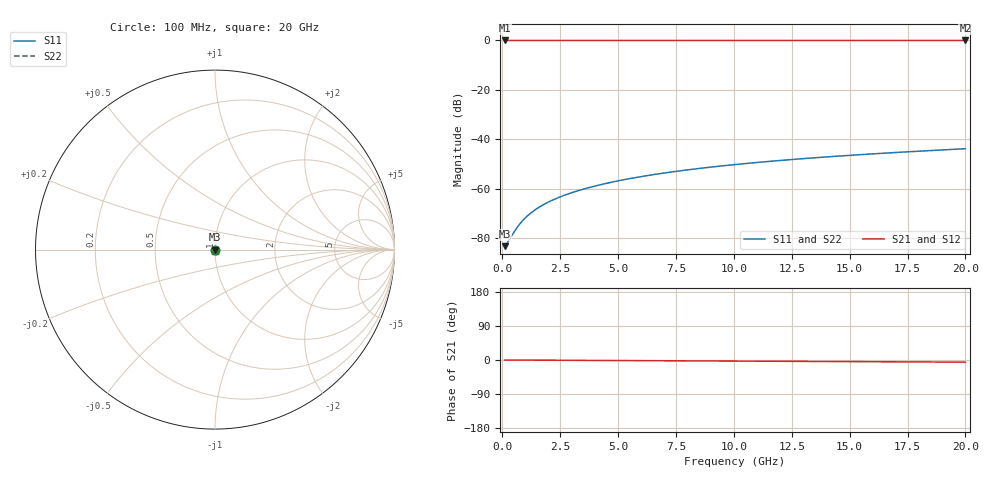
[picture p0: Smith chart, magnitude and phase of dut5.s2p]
! Touchstone file exported from HFSS 2026.1.0
!  File:  C:/ffzhzh/LocalFiles/Ansys_Project_Files/temp_train_TSV_5_1782957853_15332.aedt
!  Generated:  10:05:40 AM Jul  2, 2026
!  Design:  TSV
!  Project:  temp_train_TSV_5_1782957853_15332
! Variables:
!  h_bsmrdl = 2um
!  h_ox = 20um
!  h_rdl = 5um
!  h_sub = 53.06um
!  h_tmrdl = 5um
!  h_tsv = 53.06um
!  h_via = 3um
!  l_bsmrdl = 300um
!  l_sub = 425.36um
!  l_tmrdl = 200um
!  m_sub = 200um
!  pitch = 47.09um
!  r_tsv = 12.68um
!  s_tmrdl = 10um
!  w_bsmrdl = 18um
!  w_sub = 500um
!  w_tmrdl = 12um
!  x_tsv_center1 = 206um
!  x_tsv_center2 = 524um
!  x_tsv_center3 = 736um
!  x_tsv_center4 = 1054um
!  x_tsv_center5 = 1266um
!  x_tsv_center6 = 1584um
# GHz S MA R 50.000000
! Terminal data exported
! Port[1] = TSV1_1_T1
! Port[2] = TSV1_1_T2
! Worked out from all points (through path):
!   200 points, 100 MHz to 20 GHz, reference 50 ohm
!   highest |S21| = 0.00 dB at 100 MHz (marker M1); lowest = 0.0 dB at 20 GHz (marker M2)
!   lowest |S11| = -83.2 dB at 100 MHz (marker M3), VSWR 1.00, Z = 50 - j0.000245 ohm
!   |S11| at or under -10 dB: start of sweep to end of sweep
!   |S22| runs from -83.2 to -43.8 dB; largest |S21 - S12| = 1e-15
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0.1  6.879e-05 -2.0  0.9999 -0.0  0.9999 -0.0  6.879e-05 -2.0
! Gamma 0 0 0 0
! Port Impedance 50 0 50 0
0.3  9.221e-05 -9.8  0.9999 -0.1  0.9999 -0.1  9.221e-05 -9.8
0.4  0.0001103 -15.1  0.9999 -0.1  0.9999 -0.1  0.0001103 -15.1
0.6  0.0001545 -25.9  0.9999 -0.2  0.9999 -0.2  0.0001545 -25.9
0.7  0.0001791 -30.7  0.9998 -0.2  0.9998 -0.2  0.0001791 -30.7
0.9  0.0002313 -38.9  0.9998 -0.3  0.9998 -0.3  0.0002313 -38.9
1.2  0.0003133 -48.1  0.9998 -0.3  0.9998 -0.3  0.0003133 -48.1
1.6  0.0004254 -56.2  0.9998 -0.5  0.9998 -0.5  0.0004254 -56.2
2  0.0005393 -61.5  0.9997 -0.6  0.9997 -0.6  0.0005393 -61.5
2.4  0.0006547 -65.2  0.9997 -0.7  0.9997 -0.7  0.0006547 -65.2
2.9  0.0008012 -68.5  0.9997 -0.8  0.9997 -0.8  0.0008012 -68.5
3.5  0.0009802 -71.3  0.9997 -1.0  0.9997 -1.0  0.0009802 -71.3
4.2  0.001193 -73.5  0.9996 -1.2  0.9996 -1.2  0.001193 -73.5
5  0.001442 -75.5  0.9996 -1.4  0.9996 -1.4  0.001442 -75.5
5.9  0.001727 -77.2  0.9996 -1.7  0.9996 -1.7  0.001727 -77.2
6.8  0.002017 -78.6  0.9995 -1.9  0.9995 -1.9  0.002017 -78.6
8.3  0.002506 -80.5  0.9995 -2.4  0.9995 -2.4  0.002506 -80.5
10.1  0.003099 -82.3  0.9994 -2.9  0.9994 -2.9  0.003099 -82.3
11.7  0.003631 -83.7  0.9994 -3.3  0.9994 -3.3  0.003631 -83.7
13.4  0.004199 -84.9  0.9993 -3.8  0.9993 -3.8  0.004199 -84.9
16.7  0.005311 -86.9  0.9993 -4.7  0.9993 -4.7  0.005311 -86.9
20  0.006439 -88.5  0.9992 -5.7  0.9992 -5.7  0.006439 -88.5
